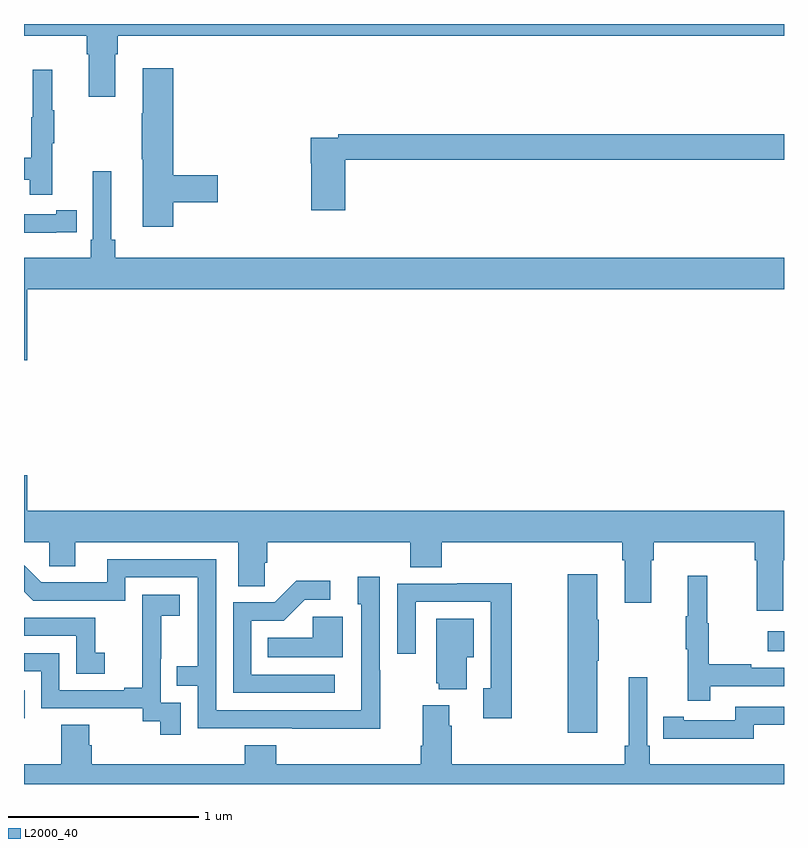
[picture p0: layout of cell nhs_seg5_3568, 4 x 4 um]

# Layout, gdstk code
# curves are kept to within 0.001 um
import gdstk
lib = gdstk.Library(unit=1e-6, precision=1e-09)
def R(c, l, rs):  # rectangles x0, y0, x1, y1
    for r in rs: c.add(gdstk.rectangle(r[:2], r[2:], *l))
def P(c, l, *ps):  # polygons
    for p in ps: c.add(gdstk.Polygon(p, *l))
L2000_40 = (2000, 40)

nhs_seg5_3568 = lib.new_cell('nhs_seg5_3568')
R(nhs_seg5_3568, L2000_40, [(321,877.146,321.005,877.293), (324.915,877.499,325,877.603)])
P(nhs_seg5_3568, L2000_40, [(321.481,880.64),(321.494,880.64),(321.494,880.736),(325,880.736),(325,880.799),(321,880.799),(321,880.736),(321.329,880.736),(321.329,880.64),(321.341,880.64),(321.341,880.416),(321.481,880.416)],
  [(321.785,879.862),(322.021,879.862),(322.021,880.004),(321.785,880.004),(321.785,880.567),(321.626,880.567),(321.626,880.328),(321.619,880.328),(321.619,880.087),(321.626,880.087),(321.626,879.732),(321.785,879.732)],
  [(321.149,880.171),(321.16,880.171),(321.16,880.345),(321.149,880.345),(321.149,880.558),(321.046,880.558),(321.046,880.308),(321.039,880.308),(321.039,880.094),(321,880.094),(321,879.978),(321.031,879.978),(321.031,879.9),(321.149,879.9)],
  [(322.691,880.084),(325,880.084),(325,880.22),(322.654,880.22),(322.654,880.2),(322.508,880.2),(322.508,880.067),(322.513,880.067),(322.513,879.819),(322.691,879.819)],
  [(321.016,879.404),(325,879.404),(325,879.568),(321.479,879.568),(321.479,879.664),(321.46,879.664),(321.46,880.024),(321.363,880.024),(321.363,879.664),(321.35,879.664),(321.35,879.568),(321,879.568),(321,879.03),(321.016,879.03)],
  [(321.17,879.702),(321.278,879.702),(321.278,879.818),(321.17,879.818),(321.17,879.798),(321,879.798),(321,879.701),(321.17,879.701)],
  [(324.997,877.976),(325,877.976),(325,878.236),(321.016,878.236),(321.016,878.425),(321,878.425),(321,878.072),(321.132,878.072),(321.132,877.945),(321.271,877.945),(321.271,878.072),(322.127,878.072),(322.127,877.84),(322.266,877.84),(322.266,877.963),(322.28,877.963),(322.28,878.072),(323.033,878.072),(323.033,877.939),(323.198,877.939),(323.198,878.072),(324.149,878.072),(324.149,877.976),(324.161,877.976),(324.161,877.752),(324.301,877.752),(324.301,877.976),(324.314,877.976),(324.314,878.072),(324.845,878.072),(324.845,877.976),(324.857,877.976),(324.857,877.71),(324.997,877.71)],
  [(322.875,877.397),(322.872,877.397),(322.872,877.891),(322.757,877.891),(322.757,877.746),(322.776,877.746),(322.775,877.188),(322.011,877.188),(322.011,877.983),(321.437,877.983),(321.437,877.86),(321.09,877.86),(321,877.95),(321,877.812),(321.048,877.764),(321.534,877.764),(321.534,877.887),(321.915,877.887),(321.915,877.418),(321.805,877.418),(321.805,877.317),(321.915,877.317),(321.915,877.092),(322.875,877.091)],
  [(324.016,877.447),(324.024,877.447),(324.024,877.664),(324.016,877.664),(324.016,877.903),(323.863,877.903),(323.863,877.068),(324.016,877.068)],
  [(324.611,877.314),(325,877.314),(325,877.41),(324.827,877.41),(324.827,877.43),(324.604,877.43),(324.604,877.644),(324.596,877.644),(324.596,877.894),(324.494,877.894),(324.494,877.681),(324.483,877.681),(324.483,877.507),(324.494,877.507),(324.494,877.236),(324.611,877.236)],
  [(322.636,877.374),(322.197,877.374),(322.197,877.659),(322.366,877.659),(322.477,877.77),(322.612,877.77),(322.612,877.868),(322.433,877.868),(322.32,877.755),(322.101,877.755),(322.101,877.278),(322.636,877.278)],
  [(323.566,877.856),(323.281,877.856),(323.281,877.854),(322.965,877.854),(322.965,877.485),(323.061,877.485),(323.061,877.758),(323.457,877.758),(323.457,877.302),(323.417,877.302),(323.417,877.146),(323.566,877.146)],
  [(321.825,877.227),(321.72,877.227),(321.72,877.457),(321.722,877.457),(321.722,877.685),(321.82,877.685),(321.82,877.795),(321.622,877.795),(321.622,877.589),(321.623,877.589),(321.623,877.306),(321.527,877.306),(321.527,877.293),(321.186,877.293),(321.186,877.488),(321,877.488),(321,877.392),(321.09,877.392),(321.09,877.197),(321.624,877.197),(321.624,877.129),(321.717,877.129),(321.717,877.059),(321.825,877.059)],
  [(322.678,877.678),(322.521,877.678),(322.521,877.57),(322.282,877.57),(322.282,877.466),(322.678,877.466)],
  [(321.424,877.489),(321.375,877.489),(321.375,877.674),(321,877.674),(321,877.578),(321.276,877.578),(321.276,877.38),(321.424,877.38)],
  [(323.329,877.466),(323.368,877.466),(323.368,877.669),(323.171,877.669),(323.171,877.329),(323.183,877.329),(323.183,877.298),(323.329,877.298)],
  [(325,876.904),(324.293,876.904),(324.293,877),(324.279,877),(324.279,877.36),(324.182,877.36),(324.182,877),(324.163,877),(324.163,876.904),(323.252,876.904),(323.252,877.106),(323.239,877.106),(323.239,877.213),(323.099,877.213),(323.099,877),(323.087,877),(323.087,876.904),(322.328,876.904),(322.328,877.003),(322.163,877.003),(322.163,876.904),(321.356,876.904),(321.356,877.002),(321.343,877.002),(321.343,877.112),(321.196,877.112),(321.196,876.904),(321,876.904),(321,876.799),(325,876.799)],
  [(324.84,877.11),(325,877.11),(325,877.206),(324.744,877.206),(324.744,877.134),(324.472,877.134),(324.472,877.154),(324.364,877.154),(324.364,877.038),(324.472,877.038),(324.472,877.037),(324.84,877.037)])

lib.write_gds('nhs_seg5_3568.gds')
